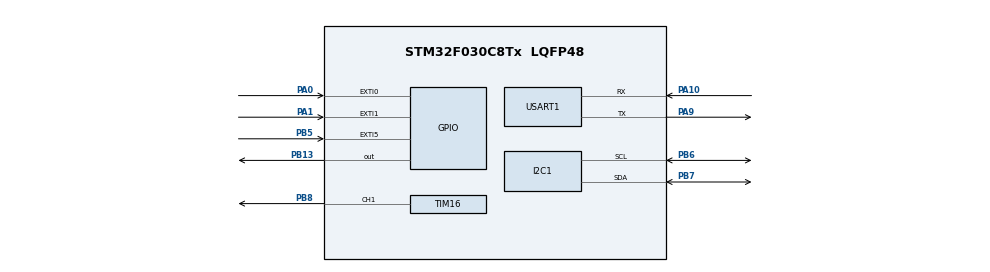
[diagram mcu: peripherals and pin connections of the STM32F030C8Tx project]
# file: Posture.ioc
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I2C1.Timing=0x00201D2B
Mcu.Family=STM32F0
Mcu.Name=STM32F030C8Tx
Mcu.Package=LQFP48
NVIC.EXTI0_1_IRQn=true\:0\:0\:false\:false\:true\:true\:true\:true
NVIC.EXTI4_15_IRQn=true\:0\:0\:false\:false\:true\:true\:true\:true
PA0.Signal=GPXTI0
PA1.Signal=GPXTI1
PA10.Mode=Asynchronous
PA10.Signal=USART1_RX
PA13.Mode=Serial_Wire
PA13.Signal=SYS_SWDIO
PA14.Mode=Serial_Wire
PA14.Signal=SYS_SWCLK
PA9.Mode=Asynchronous
PA9.Signal=USART1_TX
PB13.Signal=GPIO_Output
PB5.Signal=GPXTI5
PB6.Mode=I2C
PB6.Signal=I2C1_SCL
PB7.Mode=I2C
PB7.Signal=I2C1_SDA
PB8.Signal=S_TIM16_CH1
PF0-OSC_IN.Mode=HSE-External-Oscillator
PF0-OSC_IN.Signal=RCC_OSC_IN
PF1-OSC_OUT.Mode=HSE-External-Oscillator
PF1-OSC_OUT.Signal=RCC_OSC_OUT
ProjectManager.HeapSize=0x200
ProjectManager.StackSize=0x400
ProjectManager.TargetToolchain=Makefile
RCC.HSE_VALUE=16000000
SH.S_TIM16_CH1.0=TIM16_CH1,PWM Generation1 CH1
TIM16.Channel=TIM_CHANNEL_1
USART1.VirtualMode-Asynchronous=VM_ASYNC
VP_TIM16_VS_ClockSourceINT.Mode=Enable_Timer
board=custom

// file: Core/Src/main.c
/* USER CODE BEGIN Header */

/* USER CODE END Header */
#include "main.h"

/* USER CODE BEGIN Includes */
#include <stdio.h>
#include "string.h"
#include "parameters.h"
/* USER CODE END Includes */

I2C_HandleTypeDef hi2c1;

TIM_HandleTypeDef htim16;

UART_HandleTypeDef huart1;

void SystemClock_Config(void);
static void MX_GPIO_Init(void);
static void MX_I2C1_Init(void);
static void MX_TIM16_Init(void);
static void MX_USART1_UART_Init(void);

int main(void)
{

  /* MCU Configuration--------------------------------------------------------*/

  /* Reset of all peripherals, Initializes the Flash interface and the Systick. */
  HAL_Init();

  /* Configure the system clock */
  SystemClock_Config();

  /* Initialize all configured peripherals */
  MX_GPIO_Init();
  MX_I2C1_Init();
  MX_TIM16_Init();
  MX_USART1_UART_Init();
  /* USER CODE BEGIN 2 */
  HAL_Delay(100);  // Give time for the accelerometer to boot up

  accelerometer_controller_initialize();
  haptic_feedback_controller_initialize();
  led_controller_initialize();
  button_controller_initialize();
  posture_controller_initialize();

  led_execute_sequence(LED_SEQ_FADE_IN);
  /* USER CODE END 2 */

  /* Infinite loop */
  /* USER CODE BEGIN WHILE */
  while (1)
  {
    uint32_t now = HAL_GetTick();
    static uint32_t last_acc_update = 0;
    static uint32_t last_led_update = 0;
    static uint32_t last_button_update = 0;
    static uint32_t last_posture_update = 0;

    if ((now - last_acc_update) >= ACCELEROMETER_UPDATE_THROTTLE_MS) {
        accelerometer_controller_update();
        last_acc_update = now;
    }

    if ((now - last_led_update) >= LED_UPDATE_THROTTLE_MS) {
        led_controller_update();
        last_led_update = now;
    }

    if ((now - last_button_update) >= BUTTON_UPDATE_THROTTLE_MS) {
        button_controller_update();
        last_button_update = now;
    }

    if ((now - last_posture_update) >= POSTURE_UPDATE_THROTTLE_MS) {
        posture_controller_update();
        last_posture_update = now;
    }

    /* USER CODE END WHILE */

  }
}

void SystemClock_Config(void)
{
  RCC_OscInitTypeDef RCC_OscInitStruct = {0};
  RCC_ClkInitTypeDef RCC_ClkInitStruct = {0};
  RCC_PeriphCLKInitTypeDef PeriphClkInit = {0};

  /** Initializes the RCC Oscillators according to the specified parameters
  * in the RCC_OscInitTypeDef structure.
  */
  RCC_OscInitStruct.OscillatorType = RCC_OSCILLATORTYPE_HSI;
  RCC_OscInitStruct.HSIState = RCC_HSI_ON;
  RCC_OscInitStruct.HSICalibrationValue = RCC_HSICALIBRATION_DEFAULT;
  RCC_OscInitStruct.PLL.PLLState = RCC_PLL_NONE;
  if (HAL_RCC_OscConfig(&RCC_OscInitStruct) != HAL_OK)
  {
    Error_Handler();
  }

  /** Initializes the CPU, AHB and APB buses clocks
  */
  RCC_ClkInitStruct.ClockType = RCC_CLOCKTYPE_HCLK|RCC_CLOCKTYPE_SYSCLK
                              |RCC_CLOCKTYPE_PCLK1;
  RCC_ClkInitStruct.SYSCLKSource = RCC_SYSCLKSOURCE_HSI;
  RCC_ClkInitStruct.AHBCLKDivider = RCC_SYSCLK_DIV1;
  RCC_ClkInitStruct.APB1CLKDivider = RCC_HCLK_DIV1;

  if (HAL_RCC_ClockConfig(&RCC_ClkInitStruct, FLASH_LATENCY_0) != HAL_OK)
  {
    Error_Handler();
  }
  PeriphClkInit.PeriphClockSelection = RCC_PERIPHCLK_USART1|RCC_PERIPHCLK_I2C1;
  PeriphClkInit.Usart1ClockSelection = RCC_USART1CLKSOURCE_PCLK1;
  PeriphClkInit.I2c1ClockSelection = RCC_I2C1CLKSOURCE_HSI;
  if (HAL_RCCEx_PeriphCLKConfig(&PeriphClkInit) != HAL_OK)
  {
    Error_Handler();
  }
}

static void MX_I2C1_Init(void)
{

  hi2c1.Instance = I2C1;
  hi2c1.Init.Timing = 0x00201D2B;
  hi2c1.Init.OwnAddress1 = 0;
  hi2c1.Init.AddressingMode = I2C_ADDRESSINGMODE_7BIT;
  hi2c1.Init.DualAddressMode = I2C_DUALADDRESS_DISABLE;
  hi2c1.Init.OwnAddress2 = 0;
  hi2c1.Init.OwnAddress2Masks = I2C_OA2_NOMASK;
  hi2c1.Init.GeneralCallMode = I2C_GENERALCALL_DISABLE;
  hi2c1.Init.NoStretchMode = I2C_NOSTRETCH_DISABLE;
  if (HAL_I2C_Init(&hi2c1) != HAL_OK)
  {
    Error_Handler();
  }

  /** Configure Analogue filter
  */
  if (HAL_I2CEx_ConfigAnalogFilter(&hi2c1, I2C_ANALOGFILTER_ENABLE) != HAL_OK)
  {
    Error_Handler();
  }

  /** Configure Digital filter
  */
  if (HAL_I2CEx_ConfigDigitalFilter(&hi2c1, 0) != HAL_OK)
  {
    Error_Handler();
  }

}

static void MX_TIM16_Init(void)
{

  TIM_OC_InitTypeDef sConfigOC = {0};
  TIM_BreakDeadTimeConfigTypeDef sBreakDeadTimeConfig = {0};

  htim16.Instance = TIM16;
  htim16.Init.Prescaler = 0;
  htim16.Init.CounterMode = TIM_COUNTERMODE_UP;
  htim16.Init.Period = 65535;
  htim16.Init.ClockDivision = TIM_CLOCKDIVISION_DIV1;
  htim16.Init.RepetitionCounter = 0;
  htim16.Init.AutoReloadPreload = TIM_AUTORELOAD_PRELOAD_DISABLE;
  if (HAL_TIM_Base_Init(&htim16) != HAL_OK)
  {
    Error_Handler();
  }
  if (HAL_TIM_PWM_Init(&htim16) != HAL_OK)
  {
    Error_Handler();
  }
  sConfigOC.OCMode = TIM_OCMODE_PWM1;
  sConfigOC.Pulse = 0;
  sConfigOC.OCPolarity = TIM_OCPOLARITY_HIGH;
  sConfigOC.OCNPolarity = TIM_OCNPOLARITY_HIGH;
  sConfigOC.OCFastMode = TIM_OCFAST_DISABLE;
  sConfigOC.OCIdleState = TIM_OCIDLESTATE_RESET;
  sConfigOC.OCNIdleState = TIM_OCNIDLESTATE_RESET;
  if (HAL_TIM_PWM_ConfigChannel(&htim16, &sConfigOC, TIM_CHANNEL_1) != HAL_OK)
  {
    Error_Handler();
  }
  sBreakDeadTimeConfig.OffStateRunMode = TIM_OSSR_DISABLE;
  sBreakDeadTimeConfig.OffStateIDLEMode = TIM_OSSI_DISABLE;
  sBreakDeadTimeConfig.LockLevel = TIM_LOCKLEVEL_OFF;
  sBreakDeadTimeConfig.DeadTime = 0;
  sBreakDeadTimeConfig.BreakState = TIM_BREAK_DISABLE;
  sBreakDeadTimeConfig.BreakPolarity = TIM_BREAKPOLARITY_HIGH;
  sBreakDeadTimeConfig.AutomaticOutput = TIM_AUTOMATICOUTPUT_DISABLE;
  if (HAL_TIMEx_ConfigBreakDeadTime(&htim16, &sBreakDeadTimeConfig) != HAL_OK)
  {
    Error_Handler();
  }
  HAL_TIM_MspPostInit(&htim16);

}

static void MX_USART1_UART_Init(void)
{

  huart1.Instance = USART1;
  huart1.Init.BaudRate = 38400;
  huart1.Init.WordLength = UART_WORDLENGTH_8B;
  huart1.Init.StopBits = UART_STOPBITS_1;
  huart1.Init.Parity = UART_PARITY_NONE;
  huart1.Init.Mode = UART_MODE_TX_RX;
  huart1.Init.HwFlowCtl = UART_HWCONTROL_NONE;
  huart1.Init.OverSampling = UART_OVERSAMPLING_16;
  huart1.Init.OneBitSampling = UART_ONE_BIT_SAMPLE_DISABLE;
  huart1.AdvancedInit.AdvFeatureInit = UART_ADVFEATURE_NO_INIT;
  if (HAL_UART_Init(&huart1) != HAL_OK)
  {
    Error_Handler();
  }

}

static void MX_GPIO_Init(void)
{
  GPIO_InitTypeDef GPIO_InitStruct = {0};

  /* GPIO Ports Clock Enable */
  __HAL_RCC_GPIOF_CLK_ENABLE();
  __HAL_RCC_GPIOA_CLK_ENABLE();
  __HAL_RCC_GPIOB_CLK_ENABLE();

  /*Configure GPIO pin Output Level */
  HAL_GPIO_WritePin(GPIOB, GPIO_PIN_13, GPIO_PIN_RESET);

  /*Configure GPIO pins : PA0 PA1 */
  GPIO_InitStruct.Pin = GPIO_PIN_0|GPIO_PIN_1;
  GPIO_InitStruct.Mode = GPIO_MODE_IT_RISING;
  GPIO_InitStruct.Pull = GPIO_NOPULL;
  HAL_GPIO_Init(GPIOA, &GPIO_InitStruct);

  /*Configure GPIO pin : PB13 */
  GPIO_InitStruct.Pin = GPIO_PIN_13;
  GPIO_InitStruct.Mode = GPIO_MODE_OUTPUT_PP;
  GPIO_InitStruct.Pull = GPIO_NOPULL;
  GPIO_InitStruct.Speed = GPIO_SPEED_FREQ_LOW;
  HAL_GPIO_Init(GPIOB, &GPIO_InitStruct);

  /*Configure GPIO pin : PB5 */
  GPIO_InitStruct.Pin = GPIO_PIN_5;
  GPIO_InitStruct.Mode = GPIO_MODE_IT_RISING_FALLING;
  GPIO_InitStruct.Pull = GPIO_PULLUP;
  HAL_GPIO_Init(GPIOB, &GPIO_InitStruct);

  /* EXTI interrupt init*/
  HAL_NVIC_SetPriority(EXTI0_1_IRQn, 0, 0);
  HAL_NVIC_EnableIRQ(EXTI0_1_IRQn);

  HAL_NVIC_SetPriority(EXTI4_15_IRQn, 0, 0);
  HAL_NVIC_EnableIRQ(EXTI4_15_IRQn);

}

/* USER CODE BEGIN 4 */
void HAL_GPIO_EXTI_Callback(uint16_t GPIO_Pin)
{
    // Button interrupt (PB5) - wake up from sleep mode and handle haptic feedback
    if (GPIO_Pin == GPIO_PIN_5)
    {
        // Call wake device function to set button wake-up flag
        sleep_controller_wake_device();

        // Handle button press/release haptic feedback
        button_handle_exti(GPIO_Pin);
    }
    else if (GPIO_Pin == GPIO_PIN_0)
    {
        accelerometer_handle_int2();
    }
    else if (GPIO_Pin == GPIO_PIN_1)
    {
        accelerometer_handle_int1();
    }

    // You can handle more EXTI pins if needed
}

/* USER CODE END 4 */

void Error_Handler(void)
{
  __disable_irq();
  while (1)
  {
  }
}
